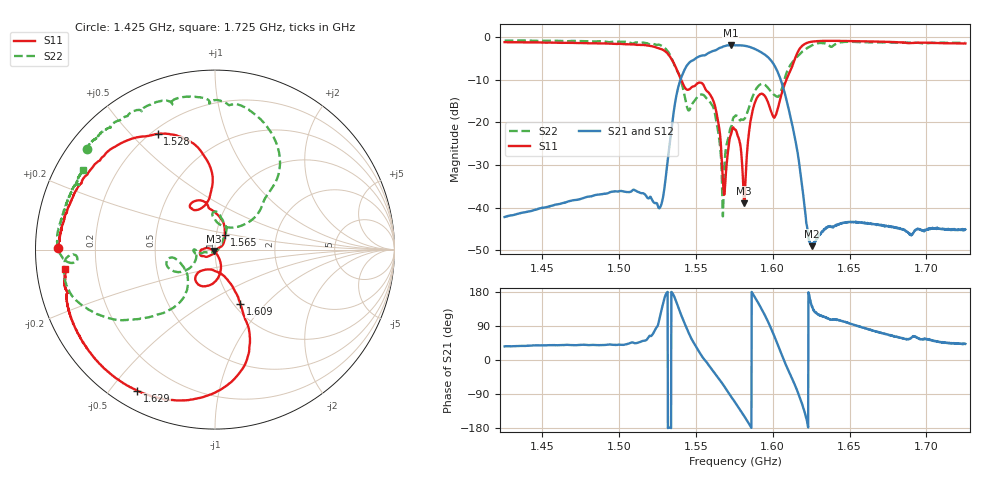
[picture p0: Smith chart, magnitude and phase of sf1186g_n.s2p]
# Hz S RI R 50
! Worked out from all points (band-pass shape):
!   1601 points, 1.425 GHz to 1.725 GHz, reference 50 ohm
!   highest |S21| = -1.89 dB at 1.573 GHz (marker M1); lowest = -49.1 dB at 1.625 GHz (marker M2)
!   |S21| within 3 dB of the highest: 1.55 GHz to 1.597 GHz (47.23 MHz wide, 3 % of centre)
!   lowest |S11| = -39.0 dB at 1.581 GHz (marker M3), VSWR 1.02, Z = 49.2 - j0.756 ohm
!   |S11| at or under -10 dB: 1.54 GHz to 1.609 GHz (68.5 MHz wide, 4.35 % of centre)
!   |S22| runs from -42.1 to -0.8 dB; largest |S21 - S12| = 0.0039
!   S11 on the Smith chart (normalised r, x): 1.425 GHz: 0.07, +0.00; 1.528 GHz: 0.22, +0.60; 1.565 GHz: 1.10, +0.18; 1.609 GHz: 1.07, -0.73; 1.629 GHz: 0.07, -0.59; 1.725 GHz: 0.09, -0.06
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1.42542e9  -0.8721 0.00703  0.00628 0.00454  0.00626 0.00455  -0.7149 0.563
1.475482e9  -0.8221 0.2229  0.00971 0.00818  0.00968 0.00819  -0.5352 0.7194
1.525545e9  -0.3841 0.6312  -0.00114 0.00996  -0.00118 0.00994  0.1171 0.8103
1.527795e9  -0.3201 0.6446  -0.00826 0.00794  -0.00828 0.00791  0.2172 0.7577
1.540545e9  -0.0254 0.3107  -0.1548 0.3037  -0.1546 0.3034  0.2316 0.1903
1.545232e9  -0.0995 0.2212  0.1538 0.4683  0.1534 0.4674  0.0491 0.1287
1.55292e9  -0.1097 0.2714  0.5785 0.1656  0.5769 0.1655  -0.00441 0.2111
1.564545e9  0.0551 0.0831  0.5002 -0.5359  0.4979 -0.5343  0.0465 0.0605
1.566795e9  0.0318 0.0155  0.3801 -0.6569  0.3799 -0.6568  0.0237 0.00719
1.568295e9  0.0137 -0.00352  0.2807 -0.7288  0.2788 -0.7278  -0.0171 -0.0158
1.572608e9  -0.0602 -0.0369  -0.0729 -0.8012  -0.0721 -0.7993  -0.0851 -0.0187
1.57542e9  -0.081 -0.0116  -0.2948 -0.7457  -0.2942 -0.7452  -0.1179 -0.0113
1.58142e9  -0.00811 -0.00768  -0.674 -0.4182  -0.6731 -0.417  -0.1035 -0.0342
1.58742e9  0.0216 -0.1483  -0.7322 0.1025  -0.7307 0.1006  -0.1749 -0.12
1.59567e9  -0.1094 -0.1581  -0.2225 0.5653  -0.2224 0.563  -0.2629 -0.0516
1.602608e9  0.0221 -0.1291  0.2814 0.3021  0.2799 0.302  -0.1783 -0.0925
1.609358e9  0.1415 -0.3015  0.1592 -0.0585  0.1589 -0.0581  -0.2313 -0.3234
1.61592e9  0.1739 -0.6228  0.00739 -0.0461  0.00746 -0.0459  -0.4439 -0.3878
1.625482e9  -0.3114 -0.8276  -0.00274 0.00222  -0.00273 0.00223  -0.7378 -0.3125
1.629045e9  -0.4324 -0.7871  -0.00231 0.00373  -0.00228 0.00369  -0.8192 -0.221
1.675545e9  -0.8223 -0.3148  0.00247 0.00545  0.00242 0.00547  -0.82 0.2771
1.72542e9  -0.8352 -0.1083  0.00407 0.00376  0.00409 0.00373  -0.7353 0.4414
